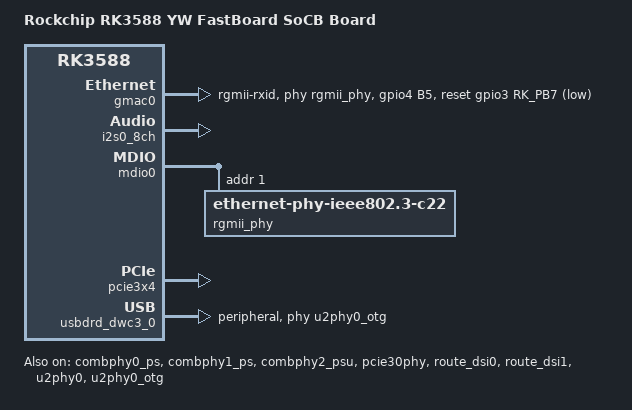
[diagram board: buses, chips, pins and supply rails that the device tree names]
// SPDX-License-Identifier: (GPL-2.0+ OR MIT)
/*
 * Copyright (c) 2025 Rockchip Electronics Co., Ltd.
 *
 */

/dts-v1/;

#include "dt-bindings/usb/pd.h"
#include "rk3588m.dtsi"
#include "rk3588-yw-v10.dtsi"
#include "rk3588-rk806-dual.dtsi"
#include "rk3588-android.dtsi"
#include "rk3588-yw-v10-socb-audio.dtsi"

/ {
	model = "Rockchip RK3588 YW FastBoard SoCB Board";
	compatible = "rockchip,rk3588-yw-fastboard-socb-v10", "rockchip,rk3588";

	chosen: chosen {
		bootargs = "earlycon=uart8250,mmio32,0xfeb50000 console=ttyFIQ0 irqchip.gicv3_pseudo_nmi=0 rcupdate.rcu_expedited=1 rcu_nocbs=all spidev.bufsiz=131072 default_hugepagesz=32M hugepagesz=32M hugepages=16";
	};

	reserved-memory {
		#address-cells = <2>;
		#size-cells = <2>;
		ranges;
		bar0_region: bar0-region@3c000000 {
			reg = <0x0 0x3c000000 0x0 0x00400000>;
		};
		bar2_region: bar2-region@40000000 {
			reg = <0x0 0x40000000 0x0 0x04000000>;
		};
	};
/*
	vcc5v0_buck: vcc5v0-buck {
		compatible = "regulator-fixed";
		regulator-name = "vcc5v0_buck";
		regulator-boot-on;
		regulator-always-on;
		regulator-min-microvolt = <5000000>;
		regulator-max-microvolt = <5000000>;
		enable-active-high;
		//gpio = <&gpio0 RK_PC2 GPIO_ACTIVE_HIGH>;
		vin-supply = <&vcc12v_dcin>;
		pinctrl-names = "default";
		pinctrl-0 = <&vcc5v0_buck_en>;
		startup-delay-us = <2500>;
		off-on-delay-us = <1500>;
		regulator-state-mem {
			regulator-on-in-suspend;
			regulator-suspend-microvolt = <5000000>;
		};
	};

	vcc5v0_host_usb20: vcc5v0-host-usb20 {
		compatible = "regulator-fixed";
		regulator-name = "vcc5v0_otg_usb20";
		regulator-boot-on;
		regulator-always-on;
		regulator-min-microvolt = <5000000>;
		regulator-max-microvolt = <5000000>;
		//enable-active-high;
		//gpio = <&i2c5_nca9539_gpio1 10 GPIO_ACTIVE_HIGH>;
		startup-delay-us = <2000>;
		off-on-delay-us = <16000>;
		vin-supply = <&vcc5v0_buck>;
	};

	vcc5v0_host_usb30: vcc5v0-host-usb30 {
		compatible = "regulator-fixed";
		regulator-name = "vcc5v0_host_usb30";
		regulator-boot-on;
		regulator-always-on;
		regulator-min-microvolt = <5000000>;
		regulator-max-microvolt = <5000000>;
		enable-active-high;
		//gpio = <&i2c5_nca9539_gpio1 11 GPIO_ACTIVE_HIGH>;
		startup-delay-us = <2000>;
		off-on-delay-us = <16000>;
		vin-supply = <&vcc5v0_buck>;
	};
*/
};

&combphy0_ps {
	status = "okay";
};

&combphy1_ps {
	status = "okay";
};

&combphy2_psu {
	status = "okay";
};

/*
&dfi {
	status = "disabled";
};

&dmc {
	status = "disabled";
};
*/

&gmac0 {
	/* Use rgmii-rxid mode to disable rx delay inside Soc */
	phy-mode = "rgmii-rxid";
	clock_in_out = "output";
	snps,reset-gpio = <&gpio3 RK_PB7 GPIO_ACTIVE_LOW>;
	snps,reset-active-low;
	/* Reset time is 20ms, 100ms for rtl8211f */
	snps,reset-delays-us = <0 20000 100000>;
	pinctrl-names = "default";
	pinctrl-0 = <&gmac0_miim
		     &gmac0_tx_bus2
		     &gmac0_rx_bus2
		     &gmac0_rgmii_clk
		     &gmac0_rgmii_bus
		     &phydisb>;
	tx_delay = <0x20>;
	phy-handle = <&rgmii_phy>;
	status = "okay";
};

&i2s0_8ch {
	status = "okay";
	pinctrl-0 = <&i2s0_lrck
		     &i2s0_sclk
		     &i2s0_sdi0
		     &i2s0_sdo0>;
};

&mdio0 {
	rgmii_phy: phy@1 {
		compatible = "ethernet-phy-ieee802.3-c22";
		reg = <0x1>;
		motorcomm,vddio = "1v8";
	};
};

/*
&avdd1v8_ddr_pll_s0 {
	regulator-state-mem {
		regulator-on-in-suspend;
		regulator-suspend-microvolt = <1800000>;
	};
};
*/

&pcie30phy {
	status = "okay";
};

&pcie3x4 {
	compatible = "rockchip,rk3588-pcie-std-ep";
	memory-region = <&bar0_region>, <&bar2_region>;
	memory-region-names = "bar0", "bar2";
	status = "okay";
};

&pinctrl {
	gmac0 {
		phydisb: phydisb {
			rockchip,pins = <4 RK_PB5 RK_FUNC_GPIO &pcfg_output_high>;
		};
	};
/*
	vcc5v0-buck {
		vcc5v0_buck_en: vcc5v0-buck-en {
			rockchip,pins = <0 RK_PC2 RK_FUNC_GPIO &pcfg_pull_none>;
		};
	};
*/
};

&rockchip_suspend {
	rockchip,sleep-mode-config = <
		(0
		| RKPM_SLP_ARMOFF_DDRPD
		| RKPM_SLP_PMU_PMUALIVE_32K
		| RKPM_SLP_PMU_DIS_OSC
		| RKPM_SLP_32K_EXT
		)
	>;
	rockchip,wakeup-config = <
		(0
		| RKPM_CPU0_WKUP_EN
		| RKPM_GPIO_WKUP_EN
		)
	>;
	status = "okay";
};

&route_dsi0 {
	status = "okay";
};

&route_dsi1 {
	status = "okay";
};

&u2phy0 {
	status = "okay";
};

&u2phy0_otg {
	//phy-supply = <&vcc5v0_host_usb20>;
	rockchip,sel-pipe-phystatus;
	rockchip,dis-u2-susphy;
	status = "okay";
};

/*
&u2phy1_otg {
	phy-supply = <&vcc5v0_host_usb30>;
};

&u2phy2_host {
	phy-supply = <&vcc5v0_host_usb30>;
};

&u2phy3_host {
	phy-supply = <&vcc5v0_host_usb30>;
};
*/

&usbdrd_dwc3_0 {
	dr_mode = "peripheral";
	maximum-speed = "high-speed";
	extcon = <&u2phy0>;
	phys = <&u2phy0_otg>;
	phy-names = "usb2-phy";
	snps,dis_u2_susphy_quirk;
	snps,usb2-lpm-disable;
	status = "okay";
 };

/*
&usbdrd_dwc3_1 {
	dr_mode = "host";
	maximum-speed = "high-speed";
	snps,dis_u2_susphy_quirk;
	snps,usb2-lpm-disable;
	status = "okay";
 };
 */


